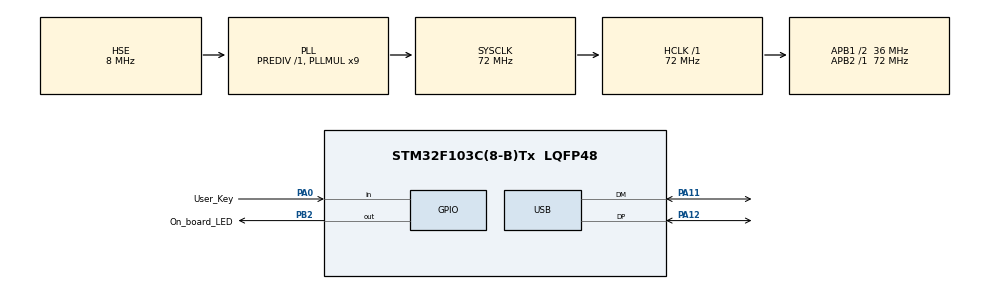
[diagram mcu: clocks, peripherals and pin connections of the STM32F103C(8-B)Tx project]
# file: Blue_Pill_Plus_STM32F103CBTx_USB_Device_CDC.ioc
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Mcu.Family=STM32F1
Mcu.Name=STM32F103C(8-B)Tx
Mcu.Package=LQFP48
NVIC.PriorityGroup=NVIC_PRIORITYGROUP_4
NVIC.USB_LP_CAN1_RX0_IRQn=true\:0\:0\:false\:false\:true\:false\:true\:true
PA0-WKUP.GPIO_Label=User_Key
PA0-WKUP.Signal=GPIO_Input
PA11.Mode=Device
PA11.Signal=USB_DM
PA12.Mode=Device
PA12.Signal=USB_DP
PA13.Mode=Serial_Wire
PA13.Signal=SYS_JTMS-SWDIO
PA14.Mode=Serial_Wire
PA14.Signal=SYS_JTCK-SWCLK
PB2.GPIO_Label=On_board_LED
PB2.Signal=GPIO_Output
PC14-OSC32_IN.Mode=LSE-External-Oscillator
PC14-OSC32_IN.Signal=RCC_OSC32_IN
PC15-OSC32_OUT.Mode=LSE-External-Oscillator
PC15-OSC32_OUT.Signal=RCC_OSC32_OUT
PD0-OSC_IN.Mode=HSE-External-Oscillator
PD0-OSC_IN.Signal=RCC_OSC_IN
PD1-OSC_OUT.Mode=HSE-External-Oscillator
PD1-OSC_OUT.Signal=RCC_OSC_OUT
ProjectManager.HeapSize=0x200
ProjectManager.StackSize=0x400
ProjectManager.TargetToolchain=Makefile
RCC.AHBFreq_Value=72000000
RCC.APB1CLKDivider=RCC_HCLK_DIV2
RCC.APB1Freq_Value=36000000
RCC.APB1TimFreq_Value=72000000
RCC.APB2Freq_Value=72000000
RCC.APB2TimFreq_Value=72000000
RCC.HCLKFreq_Value=72000000
RCC.PLLMUL=RCC_PLL_MUL9
RCC.PLLSourceVirtual=RCC_PLLSOURCE_HSE
RCC.RTCClockSelection=RCC_RTCCLKSOURCE_LSE
RCC.SYSCLKFreq_VALUE=72000000
RCC.SYSCLKSource=RCC_SYSCLKSOURCE_PLLCLK
RCC.USBFreq_Value=48000000
RCC.USBPrescaler=RCC_USBCLKSOURCE_PLL_DIV1_5
USB_DEVICE.CLASS_NAME_FS=CDC
USB_DEVICE.VirtualMode=Cdc
USB_DEVICE.VirtualModeFS=Cdc_FS
VP_RTC_VS_RTC_Activate.Mode=RTC_Enabled
VP_RTC_VS_RTC_Calendar.Mode=RTC_Calendar
VP_USB_DEVICE_VS_USB_DEVICE_CDC_FS.Mode=CDC_FS
board=custom

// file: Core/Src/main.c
/* USER CODE BEGIN Header */
/**
  ******************************************************************************
  * @file           : main.c
  * @brief          : Main program body
  ******************************************************************************
  * @attention
  *
  * Copyright (c) 2025 STMicroelectronics.
  * All rights reserved.
  *
  * This software is licensed under terms that can be found in the LICENSE file
  * in the root directory of this software component.
  * If no LICENSE file comes with this software, it is provided AS-IS.
  *
  ******************************************************************************
  */
/* USER CODE END Header */
#include "main.h"
#include "usb_device.h"

/* USER CODE BEGIN Includes */
#include "usbd_cdc_if.h"
#include <string.h>   /* memcpy */
/* USER CODE END Includes */

RTC_HandleTypeDef hrtc;

void SystemClock_Config(void);
static void MX_GPIO_Init(void);
static void MX_RTC_Init(void);

int main(void)
{

  /* MCU Configuration--------------------------------------------------------*/

  /* Reset of all peripherals, Initializes the Flash interface and the Systick. */
  HAL_Init();

  /* Configure the system clock */
  SystemClock_Config();

  /* Initialize all configured peripherals */
  MX_GPIO_Init();
  MX_RTC_Init();
  MX_USB_DEVICE_Init();

  /* Infinite loop */
  /* USER CODE BEGIN WHILE */
  while (1)
  {
    /*
     * OUTER LOOP: wait for a terminal to connect.
     * This outer loop means the banner is re-shown every time a terminal
     * connects, regardless of whether the MCU is USB-powered or running
     * from an independent supply.
     */

    /* Wait for the USB to be configured AND a terminal to open (DTR asserted).
     * Keeping both conditions separate makes the logic explicit and matches
     * the Teensy pattern: usb_configured() && (control & USB_SERIAL_DTR). */
    while (!CDC_Configured() || !cdc_connected)
    {
      /* Toggle the on-board LED here to indicate standby. */

      /* Small delay for animation speed (~2 fps) */
      HAL_Delay(500);

      /* Toggle onboard LED */
      HAL_GPIO_TogglePin(On_board_LED_GPIO_Port, On_board_LED_Pin);
    }

    /* Discard any stale bytes that arrived before we were ready: OS modem
     * probes, leftovers from a previous session, etc. */
    CDC_FlushInput();

    /* Show the banner.  Add your own application greeting here. */
    const char *banner = "USBSerial ready\r\n";
    CDC_WriteBuf((uint8_t *)banner, (uint16_t)strlen(banner));

    /*
     * INNER LOOP: do real work here.
     * Break out (back to the outer loop) on either disconnect condition.
     *
     * CDC_Configured() catches a physical cable pull (dev_state leaves
     * USBD_STATE_CONFIGURED before cdc_connected can be cleared).
     * cdc_connected catches an orderly terminal close (DTR de-asserted
     * while the cable remains plugged in).
     */
    while (CDC_Configured() && cdc_connected)
    {
      /* --- Pattern A: single-character echo (CDC_GetChar / CDC_PutChar) -- */
#if 0
      if (CDC_Available())
      {
        int ch = CDC_GetChar();   /* non-blocking: Available() confirmed > 0 */
        CDC_PutChar(ch);
      }
#endif

      /* --- Pattern B: block echo (CDC_ReadBuf / CDC_WriteBuf) ------------ */
      {
        uint8_t  rxBuf[64];
        uint16_t nBytes = CDC_ReadBuf(rxBuf, sizeof(rxBuf));

        if (nBytes > 0U)
        {
          /* Echo the block back.  Retry once on USBD_BUSY: the TX
           * endpoint may still be occupied from the previous transfer. */
          uint8_t result = CDC_WriteBuf(rxBuf, nBytes);
          if (result == USBD_BUSY)
          {
            HAL_Delay(1U);
            CDC_WriteBuf(rxBuf, nBytes);
          }
        }
      }
    }
    /* Terminal disconnected: fall back to the outer loop and wait again. */

    /* USER CODE END WHILE */

  }
}

void SystemClock_Config(void)
{
  RCC_OscInitTypeDef RCC_OscInitStruct = {0};
  RCC_ClkInitTypeDef RCC_ClkInitStruct = {0};
  RCC_PeriphCLKInitTypeDef PeriphClkInit = {0};

  /** Initializes the RCC Oscillators according to the specified parameters
  * in the RCC_OscInitTypeDef structure.
  */
  RCC_OscInitStruct.OscillatorType = RCC_OSCILLATORTYPE_HSE|RCC_OSCILLATORTYPE_LSE;
  RCC_OscInitStruct.HSEState = RCC_HSE_ON;
  RCC_OscInitStruct.HSEPredivValue = RCC_HSE_PREDIV_DIV1;
  RCC_OscInitStruct.LSEState = RCC_LSE_ON;
  RCC_OscInitStruct.HSIState = RCC_HSI_ON;
  RCC_OscInitStruct.PLL.PLLState = RCC_PLL_ON;
  RCC_OscInitStruct.PLL.PLLSource = RCC_PLLSOURCE_HSE;
  RCC_OscInitStruct.PLL.PLLMUL = RCC_PLL_MUL9;
  if (HAL_RCC_OscConfig(&RCC_OscInitStruct) != HAL_OK)
  {
    Error_Handler();
  }

  /** Initializes the CPU, AHB and APB buses clocks
  */
  RCC_ClkInitStruct.ClockType = RCC_CLOCKTYPE_HCLK|RCC_CLOCKTYPE_SYSCLK
                              |RCC_CLOCKTYPE_PCLK1|RCC_CLOCKTYPE_PCLK2;
  RCC_ClkInitStruct.SYSCLKSource = RCC_SYSCLKSOURCE_PLLCLK;
  RCC_ClkInitStruct.AHBCLKDivider = RCC_SYSCLK_DIV1;
  RCC_ClkInitStruct.APB1CLKDivider = RCC_HCLK_DIV2;
  RCC_ClkInitStruct.APB2CLKDivider = RCC_HCLK_DIV1;

  if (HAL_RCC_ClockConfig(&RCC_ClkInitStruct, FLASH_LATENCY_2) != HAL_OK)
  {
    Error_Handler();
  }
  PeriphClkInit.PeriphClockSelection = RCC_PERIPHCLK_RTC|RCC_PERIPHCLK_USB;
  PeriphClkInit.RTCClockSelection = RCC_RTCCLKSOURCE_LSE;
  PeriphClkInit.UsbClockSelection = RCC_USBCLKSOURCE_PLL_DIV1_5;
  if (HAL_RCCEx_PeriphCLKConfig(&PeriphClkInit) != HAL_OK)
  {
    Error_Handler();
  }
}

static void MX_RTC_Init(void)
{

  RTC_TimeTypeDef sTime = {0};
  RTC_DateTypeDef DateToUpdate = {0};

  /** Initialize RTC Only
  */
  hrtc.Instance = RTC;
  hrtc.Init.AsynchPrediv = RTC_AUTO_1_SECOND;
  hrtc.Init.OutPut = RTC_OUTPUTSOURCE_ALARM;
  if (HAL_RTC_Init(&hrtc) != HAL_OK)
  {
    Error_Handler();
  }

  /** Initialize RTC and set the Time and Date
  */
  sTime.Hours = 0x0;
  sTime.Minutes = 0x0;
  sTime.Seconds = 0x0;

  if (HAL_RTC_SetTime(&hrtc, &sTime, RTC_FORMAT_BCD) != HAL_OK)
  {
    Error_Handler();
  }
  DateToUpdate.WeekDay = RTC_WEEKDAY_MONDAY;
  DateToUpdate.Month = RTC_MONTH_JANUARY;
  DateToUpdate.Date = 0x1;
  DateToUpdate.Year = 0x0;

  if (HAL_RTC_SetDate(&hrtc, &DateToUpdate, RTC_FORMAT_BCD) != HAL_OK)
  {
    Error_Handler();
  }

}

static void MX_GPIO_Init(void)
{
  GPIO_InitTypeDef GPIO_InitStruct = {0};

  /* GPIO Ports Clock Enable */
  __HAL_RCC_GPIOC_CLK_ENABLE();
  __HAL_RCC_GPIOD_CLK_ENABLE();
  __HAL_RCC_GPIOA_CLK_ENABLE();
  __HAL_RCC_GPIOB_CLK_ENABLE();

  /*Configure GPIO pin Output Level */
  HAL_GPIO_WritePin(On_board_LED_GPIO_Port, On_board_LED_Pin, GPIO_PIN_RESET);

  /*Configure GPIO pin : User_Key_Pin */
  GPIO_InitStruct.Pin = User_Key_Pin;
  GPIO_InitStruct.Mode = GPIO_MODE_INPUT;
  GPIO_InitStruct.Pull = GPIO_NOPULL;
  HAL_GPIO_Init(User_Key_GPIO_Port, &GPIO_InitStruct);

  /*Configure GPIO pin : On_board_LED_Pin */
  GPIO_InitStruct.Pin = On_board_LED_Pin;
  GPIO_InitStruct.Mode = GPIO_MODE_OUTPUT_PP;
  GPIO_InitStruct.Pull = GPIO_NOPULL;
  GPIO_InitStruct.Speed = GPIO_SPEED_FREQ_LOW;
  HAL_GPIO_Init(On_board_LED_GPIO_Port, &GPIO_InitStruct);

}

void Error_Handler(void)
{
  __disable_irq();
  while (1)
  {
  }
}
